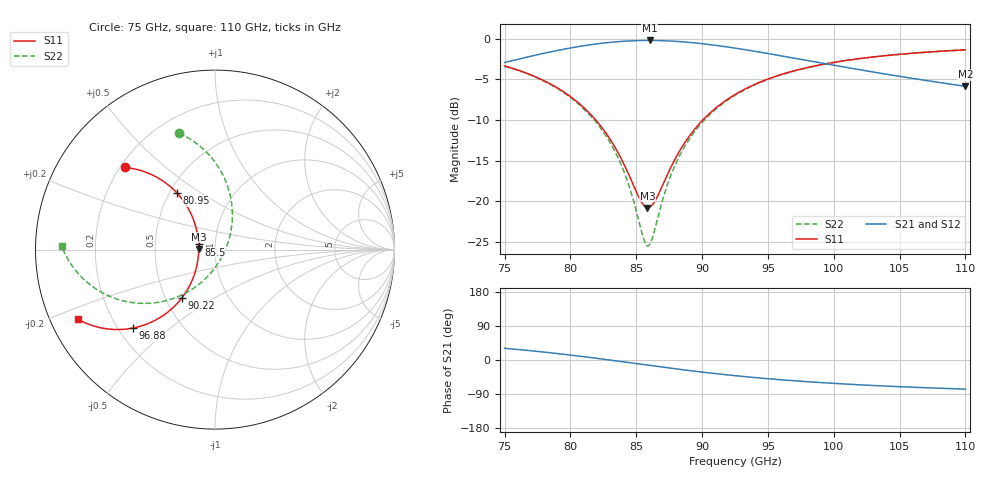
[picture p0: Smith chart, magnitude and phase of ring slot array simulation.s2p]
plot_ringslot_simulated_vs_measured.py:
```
import pylab
import skrf as rf

# from the extension you know this is a 2-port network
ring_slot_sim = rf.Network('ring slot array simulation.s2p')
ring_slot_meas = rf.Network('ring slot array measured.s2p')

pylab.figure(1)
pylab.title('WR-10 Ringslot Array Simulated vs Measured')
# if no indices are passed to the plot command it will plot all
# available s-parameters
ring_slot_sim.plot_s_db(0, 0, label='Simulated')
ring_slot_meas.plot_s_db(0, 0, label='Measured')

pylab.show()
```
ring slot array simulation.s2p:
! Touchstone file from project skinDepth
! Exported from HFSS 12.1.1
! Variables:
!  a = 1.1mm
!  d = 127um
!  epsR = 3.48mm
!  f0 = 94GHz
!  fMax = 110GHz
!  fMin = 75GHz
!  lam0 = c0/f0
!  lamMax = c0/fMin
!  lamMin = c0/fMax
!  n = sqrt(epsR)
!  prop = lamMax/4
!  r0 = lam0/(2*pi*rMult)
!  r0_short = (r_out_short+r_in_short)/2
!  rMult = 1.2625
!  r_in = r0-w/2
!  r_in_short = r_out+tlineW
!  r_out = r0+w/2
!  r_out_short = r_in_short+tlineW
!  t = 0.7um
!  theta1 = 15deg
!  tlineW = 0.004mm
!  w = r0/10
!Data is not renormalized
# GHZ S MA
! Modal data exported
! Port[1] = 1:1
! Port[2] = 2:1
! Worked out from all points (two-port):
!   201 points, 75 GHz to 110 GHz, reference per port
!   highest |S21| = -0.20 dB at 86.03 GHz (marker M1); lowest = -5.8 dB at 110 GHz (marker M2)
!   |S21| within 3 dB of the highest: start of sweep to 99.82 GHz
!   lowest |S11| = -20.8 dB at 85.85 GHz (marker M3), VSWR 1.20
!   |S11| at or under -10 dB: 81.92 GHz to 90.06 GHz (8.137 GHz wide, 9.46 % of centre)
!   |S22| runs from -25.6 to -1.4 dB; largest |S21 - S12| = 2.8e-15
!   S11 on the Smith chart (normalised r, x): 75 GHz: 0.22, +0.37; 80.95 GHz: 0.54, +0.40; 85.5 GHz: 0.83, +0.05; 90.22 GHz: 0.61, -0.36; 96.88 GHz: 0.26, -0.38; 110 GHz: 0.08, -0.24
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75  0.6807 137.7  0.7147 30.9  0.7147 30.9  0.6784 107.1
80.95  0.381 124.0  0.9055 9.0  0.9055 9.0  0.3745 80.1
83.575  0.2018 126.0  0.9605 -2.8  0.9605 -2.8  0.188 59.3
85.5  0.09566 162.7  0.9771 -11.9  0.9771 -11.9  0.06053 5.5
85.85  0.09088 177.8  0.9777 -13.5  0.9777 -13.5  0.05274 -23.3
86.025  0.09152 -174.4  0.9777 -14.3  0.9777 -14.3  0.05392 -38.8
87.95  0.1819 -129.4  0.9662 -23.1  0.9662 -23.1  0.1668 -107.5
90.225  0.3265 -124.5  0.9295 -32.8  0.9295 -32.8  0.3191 -126.7
92.5  0.4536 -127.7  0.8771 -41.3  0.8771 -41.3  0.449 -138.7
96.875  0.632 -136.2  0.7636 -54.5  0.7636 -54.5  0.6296 -154.9
110  0.8562 -153.0  0.5101 -76.8  0.5101 -76.8  0.8554 178.6
